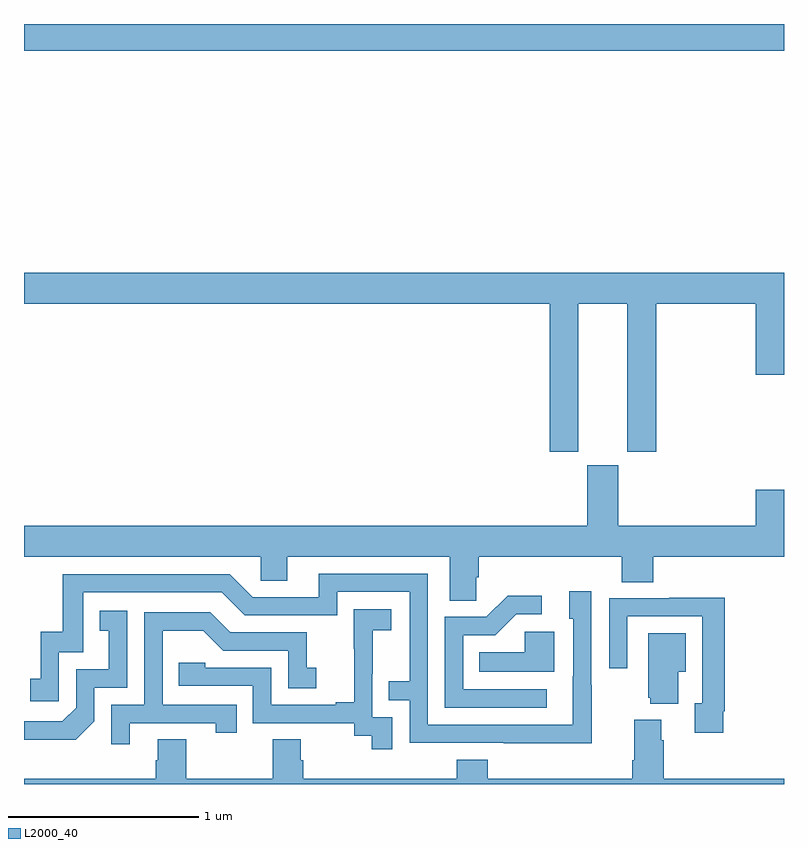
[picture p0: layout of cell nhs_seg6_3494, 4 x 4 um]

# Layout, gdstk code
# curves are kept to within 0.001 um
import gdstk
lib = gdstk.Library(unit=1e-6, precision=1e-09)
def R(c, l, rs):  # rectangles x0, y0, x1, y1
    for r in rs: c.add(gdstk.rectangle(r[:2], r[2:], *l))
def P(c, l, *ps):  # polygons
    for p in ps: c.add(gdstk.Polygon(p, *l))
L2000_40 = (2000, 40)

nhs_seg6_3494 = lib.new_cell('nhs_seg6_3494')
R(nhs_seg6_3494, L2000_40, [(317,923.36,321,923.5)])
P(nhs_seg6_3494, L2000_40, [(319.918,922.028),(320.174,922.028),(320.174,921.249),(320.327,921.249),(320.327,922.028),(320.852,922.028),(320.852,921.654),(321,921.654),(321,922.192),(317,922.192),(317,922.028),(319.766,922.028),(319.766,921.249),(319.918,921.249)],
  [(319.38,920.587),(319.394,920.587),(319.394,920.696),(320.147,920.696),(320.147,920.563),(320.312,920.563),(320.312,920.696),(321,920.696),(321,921.049),(320.852,921.049),(320.852,920.86),(320.128,920.86),(320.128,921.177),(319.964,921.177),(319.964,920.86),(317,920.86),(317,920.696),(318.246,920.696),(318.246,920.569),(318.385,920.569),(318.385,920.696),(319.241,920.696),(319.241,920.464),(319.38,920.464)],
  [(319.989,920.021),(319.986,920.021),(319.986,920.515),(319.871,920.515),(319.871,920.37),(319.89,920.37),(319.889,919.812),(319.125,919.812),(319.125,920.607),(318.551,920.607),(318.551,920.484),(318.204,920.484),(318.084,920.604),(317.205,920.604),(317.205,920.302),(317.087,920.302),(317.087,920.055),(317.034,920.055),(317.034,919.935),(317.184,919.935),(317.184,920.193),(317.313,920.193),(317.313,920.508),(318.042,920.508),(318.162,920.388),(318.648,920.388),(318.648,920.511),(319.029,920.511),(319.029,920.042),(318.919,920.042),(318.919,919.941),(319.029,919.941),(319.029,919.716),(319.989,919.715)],
  [(319.75,919.998),(319.311,919.998),(319.311,920.283),(319.48,920.283),(319.591,920.394),(319.726,920.394),(319.726,920.492),(319.547,920.492),(319.434,920.379),(319.215,920.379),(319.215,919.902),(319.75,919.902)],
  [(320.68,919.882),(320.687,919.882),(320.687,920.48),(320.395,920.48),(320.395,920.478),(320.079,920.478),(320.079,920.109),(320.175,920.109),(320.175,920.382),(320.571,920.382),(320.571,919.926),(320.531,919.926),(320.531,919.77),(320.68,919.77)],
  [(318.939,919.851),(318.834,919.851),(318.834,920.081),(318.836,920.081),(318.836,920.309),(318.934,920.309),(318.934,920.419),(318.736,920.419),(318.736,920.213),(318.737,920.213),(318.737,919.93),(318.641,919.93),(318.641,919.917),(318.3,919.917),(318.3,920.112),(317.955,920.112),(317.955,920.139),(317.815,920.139),(317.815,920.016),(318.204,920.016),(318.204,919.821),(318.738,919.821),(318.738,919.753),(318.831,919.753),(318.831,919.683),(318.939,919.683)],
  [(317.37,919.83),(317.37,920.007),(317.544,920.007),(317.544,920.413),(317.398,920.413),(317.398,920.307),(317.447,920.307),(317.447,920.103),(317.274,920.103),(317.274,919.902),(317.202,919.83),(317,919.83),(317,919.733),(317.272,919.733)],
  [(317.557,919.821),(318.008,919.821),(318.008,919.77),(318.119,919.77),(318.119,919.917),(317.73,919.917),(317.73,920.306),(317.944,920.306),(318.048,920.202),(318.39,920.202),(318.39,920.004),(318.538,920.004),(318.538,920.113),(318.489,920.113),(318.489,920.298),(318.085,920.298),(317.98,920.403),(317.634,920.403),(317.634,919.917),(317.46,919.917),(317.46,919.71),(317.557,919.71)],
  [(319.792,920.302),(319.635,920.302),(319.635,920.194),(319.396,920.194),(319.396,920.09),(319.792,920.09)],
  [(320.443,920.09),(320.482,920.09),(320.482,920.293),(320.285,920.293),(320.285,919.953),(320.297,919.953),(320.297,919.922),(320.443,919.922)],
  [(321,919.528),(320.366,919.528),(320.366,919.73),(320.353,919.73),(320.353,919.837),(320.213,919.837),(320.213,919.624),(320.201,919.624),(320.201,919.528),(319.442,919.528),(319.442,919.627),(319.277,919.627),(319.277,919.528),(318.47,919.528),(318.47,919.626),(318.457,919.626),(318.457,919.736),(318.31,919.736),(318.31,919.528),(317.853,919.528),(317.853,919.736),(317.705,919.736),(317.705,919.626),(317.693,919.626),(317.693,919.528),(317,919.528),(317,919.5),(321,919.5)])

lib.write_gds('nhs_seg6_3494.gds')
